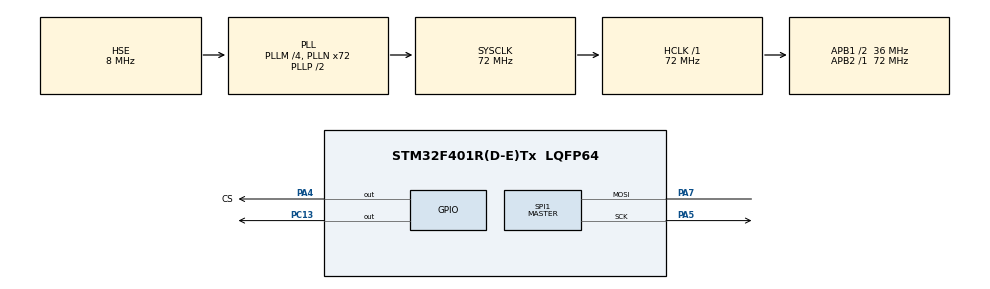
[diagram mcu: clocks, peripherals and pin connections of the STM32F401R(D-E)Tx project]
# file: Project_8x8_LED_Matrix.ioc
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Mcu.Family=STM32F4
Mcu.Name=STM32F401R(D-E)Tx
Mcu.Package=LQFP64
NVIC.PriorityGroup=NVIC_PRIORITYGROUP_4
PA13.Mode=Serial_Wire
PA13.Signal=SYS_JTMS-SWDIO
PA14.Mode=Serial_Wire
PA14.Signal=SYS_JTCK-SWCLK
PA4.GPIO_Label=CS
PA4.PinState=GPIO_PIN_SET
PA4.Signal=GPIO_Output
PA5.Mode=Simplex_Bidirectional_Master
PA5.Signal=SPI1_SCK
PA7.Mode=Simplex_Bidirectional_Master
PA7.Signal=SPI1_MOSI
PC13-ANTI_TAMP.Signal=GPIO_Output
PH0\ -\ OSC_IN.Mode=HSE-External-Oscillator
PH0\ -\ OSC_IN.Signal=RCC_OSC_IN
PH1\ -\ OSC_OUT.Mode=HSE-External-Oscillator
PH1\ -\ OSC_OUT.Signal=RCC_OSC_OUT
ProjectManager.HeapSize=0x200
ProjectManager.StackSize=0x400
ProjectManager.TargetToolchain=STM32CubeIDE
RCC.48MHZClocksFreq_Value=20571428.57142857
RCC.AHBFreq_Value=72000000
RCC.APB1CLKDivider=RCC_HCLK_DIV2
RCC.APB1Freq_Value=36000000
RCC.APB1TimFreq_Value=72000000
RCC.APB2Freq_Value=72000000
RCC.APB2TimFreq_Value=72000000
RCC.CortexFreq_Value=72000000
RCC.HCLKFreq_Value=72000000
RCC.HSE_VALUE=8000000
RCC.HSI_VALUE=16000000
RCC.LSE_VALUE=32768
RCC.PLLM=4
RCC.PLLN=72
RCC.PLLQ=7
RCC.PLLSourceVirtual=RCC_PLLSOURCE_HSE
RCC.SYSCLKFreq_VALUE=72000000
RCC.SYSCLKSource=RCC_SYSCLKSOURCE_PLLCLK
RCC.VCOOutputFreq_Value=144000000
SPI1.BaudRatePrescaler=SPI_BAUDRATEPRESCALER_32
SPI1.CLKPolarity=SPI_POLARITY_HIGH
SPI1.DataSize=SPI_DATASIZE_16BIT
SPI1.Direction=SPI_DIRECTION_1LINE
SPI1.Mode=SPI_MODE_MASTER
SPI1.VirtualType=VM_MASTER
board=NUCLEO-F401RE

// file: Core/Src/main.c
/* USER CODE BEGIN Header */
/**
  ******************************************************************************
  * @file           : main.c
  * @brief          : Main program body
  ******************************************************************************
  * @attention
  *
  * Copyright (c) 2025 STMicroelectronics.
  * All rights reserved.
  *
  * This software is licensed under terms that can be found in the LICENSE file
  * in the root directory of this software component.
  * If no LICENSE file comes with this software, it is provided AS-IS.
  *
  ******************************************************************************
  */
/* USER CODE END Header */
#include "main.h"

SPI_HandleTypeDef hspi1;

/* USER CODE BEGIN PV */

const uint8_t char_map[95][8] = {
    // 0-9
    {0x3C,0x66,0x6E,0x76,0x66,0x66,0x66,0x3C}, // '0'
    {0x18,0x38,0x18,0x18,0x18,0x18,0x18,0x7E}, // '1'
    {0x3C,0x66,0x06,0x0C,0x18,0x30,0x60,0x7E}, // '2'
    {0x3C,0x66,0x06,0x1C,0x06,0x06,0x66,0x3C}, // '3'
    {0x0C,0x1C,0x3C,0x6C,0x7E,0x0C,0x0C,0x0C}, // '4'
    {0x7E,0x60,0x60,0x7C,0x06,0x06,0x66,0x3C}, // '5'
    {0x1C,0x30,0x60,0x7C,0x66,0x66,0x66,0x3C}, // '6'
    {0x7E,0x06,0x0C,0x18,0x30,0x30,0x30,0x30}, // '7'
    {0x3C,0x66,0x66,0x3C,0x66,0x66,0x66,0x3C}, // '8'
    {0x3C,0x66,0x66,0x66,0x3E,0x06,0x0C,0x38}, // '9'

    // A-Z
    {0x18,0x3C,0x66,0x66,0x7E,0x66,0x66,0x66}, // A
    {0x7C,0x66,0x66,0x7C,0x66,0x66,0x66,0x7C}, // B
    {0x3C,0x66,0x60,0x60,0x60,0x60,0x66,0x3C}, // C
    {0x78,0x6C,0x66,0x66,0x66,0x66,0x6C,0x78}, // D
    {0x7E,0x60,0x60,0x7C,0x60,0x60,0x60,0x7E}, // E
    {0x7E,0x60,0x60,0x7C,0x60,0x60,0x60,0x60}, // F
    {0x3C,0x66,0x60,0x60,0x6E,0x66,0x66,0x3C}, // G
    {0x66,0x66,0x66,0x7E,0x66,0x66,0x66,0x66}, // H
    {0x3C,0x18,0x18,0x18,0x18,0x18,0x18,0x3C}, // I
    {0x0E,0x06,0x06,0x06,0x06,0x66,0x66,0x3C}, // J
    {0x66,0x6C,0x78,0x70,0x78,0x6C,0x66,0x66}, // K
    {0x60,0x60,0x60,0x60,0x60,0x60,0x60,0x7E}, // L
    {0x63,0x77,0x7F,0x6B,0x63,0x63,0x63,0x63}, // M
    {0x66,0x76,0x7E,0x7E,0x6E,0x66,0x66,0x66}, // N
    {0x3C,0x66,0x66,0x66,0x66,0x66,0x66,0x3C}, // O
    {0x7C,0x66,0x66,0x7C,0x60,0x60,0x60,0x60}, // P
    {0x3C,0x66,0x66,0x66,0x66,0x6E,0x3C,0x0E}, // Q
    {0x7C,0x66,0x66,0x7C,0x78,0x6C,0x66,0x66}, // R
    {0x3C,0x66,0x60,0x3C,0x06,0x06,0x66,0x3C}, // S
    {0x7E,0x18,0x18,0x18,0x18,0x18,0x18,0x18}, // T
    {0x66,0x66,0x66,0x66,0x66,0x66,0x66,0x3C}, // U
    {0x66,0x66,0x66,0x66,0x66,0x66,0x3C,0x18}, // V
    {0x63,0x63,0x63,0x6B,0x7F,0x77,0x63,0x63}, // W
    {0x66,0x66,0x3C,0x18,0x3C,0x66,0x66,0x66}, // X
    {0x66,0x66,0x66,0x3C,0x18,0x18,0x18,0x18}, // Y
    {0x7E,0x06,0x0C,0x18,0x30,0x60,0x60,0x7E}, // Z
};

/* USER CODE END PV */

void SystemClock_Config(void);
static void MX_GPIO_Init(void);
static void MX_SPI1_Init(void);

/* USER CODE BEGIN 0 */

void max7219_write(uint8_t addr, uint8_t data) {
    uint16_t writeData = (addr << 8) | data;
    HAL_GPIO_WritePin(CS_GPIO_Port, CS_Pin, GPIO_PIN_RESET); // Enable slave
    HAL_SPI_Transmit(&hspi1, (uint8_t *)&writeData, 1, 100);
    HAL_GPIO_WritePin(CS_GPIO_Port, CS_Pin, GPIO_PIN_SET);  // Disable slave
}

void matrixInit(void) {
    max7219_write(0x09, 0x00); // No decoding
    max7219_write(0x0A, 0x07); // Intensity (7/15)
    max7219_write(0x0B, 0x07); // Scan all 8 digits
    max7219_write(0x0C, 0x01); // Normal operation
    max7219_write(0x0F, 0x00); // No display test
}

void matrixClear(void) {
    // Clear all digits (rows)
    for (int i = 1; i <= 8; i++) {
        max7219_write(i, 0x00);
    }
}

void displayCharacter(const uint8_t character[8]) {
    matrixClear(); // Clear display before showing new character
    for (int i = 0; i < 8; i++) {
        max7219_write(i + 1, character[i]);
    }
}

/* USER CODE END 0 */

int main(void) {

    /* MCU Configuration--------------------------------------------------------*/
    HAL_Init();

    /* Configure the system clock */
    SystemClock_Config();

    /* Initialize all configured peripherals */
    MX_GPIO_Init();
    MX_SPI1_Init();
    /* USER CODE BEGIN 2 */
    matrixInit();
    matrixClear();
    /* USER CODE END 2 */
    /* Infinite loop */
    /* USER CODE BEGIN WHILE */
    while (1) {
        for (int i = 0; i < 36; i++) {
            displayCharacter(char_map[i]);
            HAL_Delay(500); // Wait 500ms before next character
        }
        /* USER CODE END WHILE */
    }
}

void SystemClock_Config(void) {
    RCC_OscInitTypeDef RCC_OscInitStruct = {0};
    RCC_ClkInitTypeDef RCC_ClkInitStruct = {0};

    __HAL_RCC_PWR_CLK_ENABLE();
    __HAL_PWR_VOLTAGESCALING_CONFIG(PWR_REGULATOR_VOLTAGE_SCALE2);

    RCC_OscInitStruct.OscillatorType = RCC_OSCILLATORTYPE_HSE;
    RCC_OscInitStruct.HSEState = RCC_HSE_ON;
    RCC_OscInitStruct.PLL.PLLState = RCC_PLL_ON;
    RCC_OscInitStruct.PLL.PLLSource = RCC_PLLSOURCE_HSE;
    RCC_OscInitStruct.PLL.PLLM = 4;
    RCC_OscInitStruct.PLL.PLLN = 72;
    RCC_OscInitStruct.PLL.PLLP = RCC_PLLP_DIV2;
    RCC_OscInitStruct.PLL.PLLQ = 7;
    if (HAL_RCC_OscConfig(&RCC_OscInitStruct) != HAL_OK) {
        Error_Handler();
    }

    RCC_ClkInitStruct.ClockType = RCC_CLOCKTYPE_HCLK | RCC_CLOCKTYPE_SYSCLK
                                | RCC_CLOCKTYPE_PCLK1 | RCC_CLOCKTYPE_PCLK2;
    RCC_ClkInitStruct.SYSCLKSource = RCC_SYSCLKSOURCE_PLLCLK;
    RCC_ClkInitStruct.AHBCLKDivider = RCC_SYSCLK_DIV1;
    RCC_ClkInitStruct.APB1CLKDivider = RCC_HCLK_DIV2;
    RCC_ClkInitStruct.APB2CLKDivider = RCC_HCLK_DIV1;

    if (HAL_RCC_ClockConfig(&RCC_ClkInitStruct, FLASH_LATENCY_2) != HAL_OK) {
        Error_Handler();
    }
}

static void MX_SPI1_Init(void) {
    hspi1.Instance = SPI1;
    hspi1.Init.Mode = SPI_MODE_MASTER;
    hspi1.Init.Direction = SPI_DIRECTION_2LINES; // 2-line mode for MAX7219
    hspi1.Init.DataSize = SPI_DATASIZE_16BIT;
    hspi1.Init.CLKPolarity = SPI_POLARITY_HIGH;
    hspi1.Init.CLKPhase = SPI_PHASE_1EDGE;
    hspi1.Init.NSS = SPI_NSS_SOFT;
    hspi1.Init.BaudRatePrescaler = SPI_BAUDRATEPRESCALER_8; // Faster clock
    hspi1.Init.FirstBit = SPI_FIRSTBIT_MSB;
    hspi1.Init.TIMode = SPI_TIMODE_DISABLE;
    hspi1.Init.CRCCalculation = SPI_CRCCALCULATION_DISABLE;
    hspi1.Init.CRCPolynomial = 10;
    if (HAL_SPI_Init(&hspi1) != HAL_OK) {
        Error_Handler();
    }
}

static void MX_GPIO_Init(void) {
    GPIO_InitTypeDef GPIO_InitStruct = {0};

    /* GPIO Ports Clock Enable */
    __HAL_RCC_GPIOC_CLK_ENABLE();
    __HAL_RCC_GPIOH_CLK_ENABLE();
    __HAL_RCC_GPIOA_CLK_ENABLE();

    /* Configure GPIO pin Output Level */
    HAL_GPIO_WritePin(GPIOC, GPIO_PIN_13, GPIO_PIN_RESET);
    HAL_GPIO_WritePin(CS_GPIO_Port, CS_Pin, GPIO_PIN_SET);

    /* Configure GPIO pin : PC13 */
    GPIO_InitStruct.Pin = GPIO_PIN_13;
    GPIO_InitStruct.Mode = GPIO_MODE_OUTPUT_PP;
    GPIO_InitStruct.Pull = GPIO_NOPULL;
    GPIO_InitStruct.Speed = GPIO_SPEED_FREQ_LOW;
    HAL_GPIO_Init(GPIOC, &GPIO_InitStruct);

    /* Configure GPIO pin : CS_Pin */
    GPIO_InitStruct.Pin = CS_Pin;
    GPIO_InitStruct.Mode = GPIO_MODE_OUTPUT_PP;
    GPIO_InitStruct.Pull = GPIO_NOPULL;
    GPIO_InitStruct.Speed = GPIO_SPEED_FREQ_LOW;
    HAL_GPIO_Init(CS_GPIO_Port, &GPIO_InitStruct);
}

void Error_Handler(void) {
    __disable_irq();
    while (1) {
    }
}
